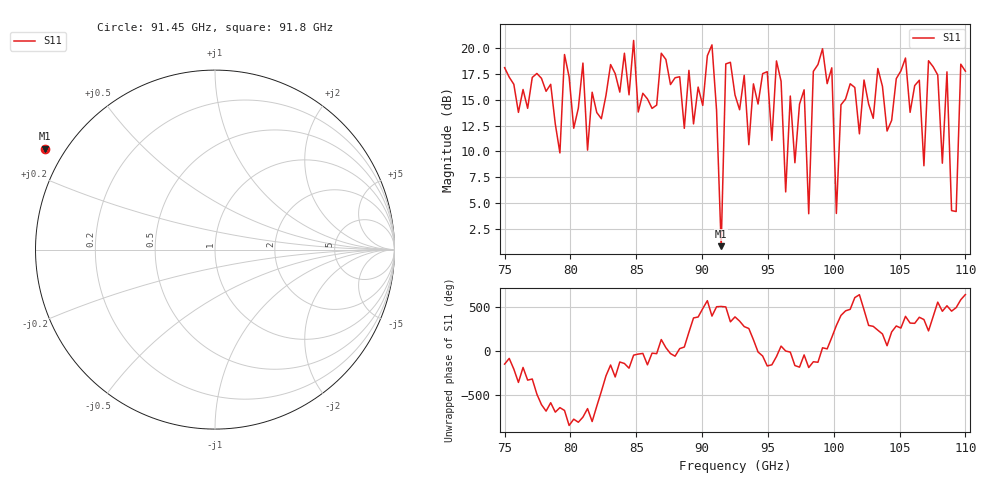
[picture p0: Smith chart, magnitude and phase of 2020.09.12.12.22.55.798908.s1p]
!Created with skrf (http://scikit-rf.org).
# GHz S RI R 50.0
!freq ReS11 ImS11
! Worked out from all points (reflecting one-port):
!   101 points, 75 GHz to 110 GHz, reference 50 ohm
!   lowest |S11| = 0.8 dB at 91.45 GHz (marker M1)
!   phase of S11 starts at -146 deg and turns +790 deg over the sweep
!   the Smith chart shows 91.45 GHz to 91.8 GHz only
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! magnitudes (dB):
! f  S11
! 75 GHz  18.1
! 79.2 GHz  9.9
! 79.55 GHz  19.4
! 81.3 GHz  10.1
! 83.75 GHz  15.7
! 88.3 GHz  17.2
! 90.75 GHz  20.3
! 91.45 GHz  0.8
! 91.8 GHz  18.5
! 92.5 GHz  15.5
! 95.65 GHz  18.8
! 96.35 GHz  6.1
! 96.7 GHz  15.4
! 97.05 GHz  8.9
! 97.75 GHz  16.0
! 98.1 GHz  4.0
! 98.45 GHz  17.7
! 99.15 GHz  19.9
! 99.85 GHz  18.1
! 100.2 GHz  4.0
! 101.2 GHz  16.5
! 105.8 GHz  13.8
! 106.8 GHz  8.6
! 107.5 GHz  18.2
! 108.2 GHz  8.9
! 108.6 GHz  17.7
! 109.3 GHz  4.2
! 110 GHz  17.8
